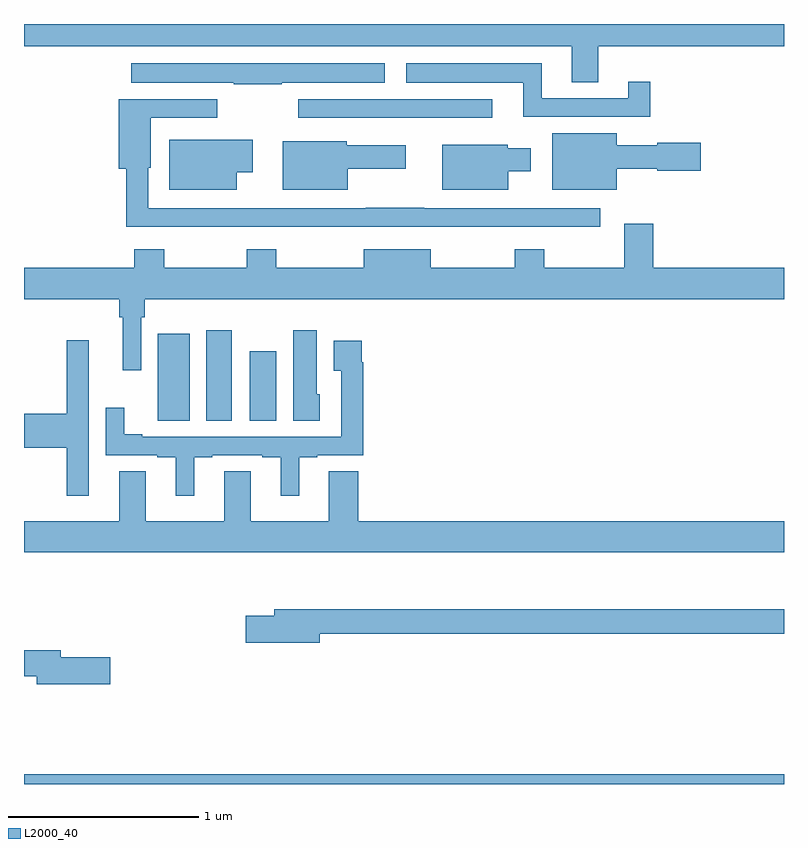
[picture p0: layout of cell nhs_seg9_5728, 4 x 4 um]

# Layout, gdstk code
import gdstk
lib = gdstk.Library(unit=1e-6, precision=1e-09)
def R(c, l, rs):  # rectangles x0, y0, x1, y1
    for r in rs: c.add(gdstk.rectangle(r[:2], r[2:], *l))
def P(c, l, *ps):  # polygons
    for p in ps: c.add(gdstk.Polygon(p, *l))
L2000_40 = (2000, 40)

nhs_seg9_5728 = lib.new_cell('nhs_seg9_5728')
R(nhs_seg9_5728, L2000_40, [(443,1228.5,447,1228.552), (443.705,1230.412,443.872,1230.871), (443.96,1230.412,444.094,1230.889), (444.188,1230.412,444.328,1230.778)])
P(nhs_seg9_5728, L2000_40, [(446.023,1232.384),(447,1232.384),(447,1232.5),(443,1232.5),(443,1232.384),(445.883,1232.384),(445.883,1232.194),(446.023,1232.194)],
  [(446.297,1232.197),(446.18,1232.197),(446.18,1232.109),(445.726,1232.109),(445.726,1232.293),(445.011,1232.293),(445.011,1232.192),(445.628,1232.192),(445.628,1232.013),(446.297,1232.013)],
  [(444.356,1232.192),(444.898,1232.192),(444.898,1232.293),(443.565,1232.293),(443.565,1232.192),(444.103,1232.192),(444.103,1232.182),(444.356,1232.182)],
  [(444.083,1231.434),(444.415,1231.434),(444.415,1231.433),(444.692,1231.433),(444.692,1231.434),(445.237,1231.434),(445.237,1231.433),(445.493,1231.433),(445.493,1231.434),(446.032,1231.434),(446.032,1231.53),(445.106,1231.53),(445.106,1231.532),(444.799,1231.532),(444.799,1231.53),(443.655,1231.53),(443.655,1231.743),(443.668,1231.743),(443.668,1232.007),(444.016,1232.007),(444.016,1232.103),(443.498,1232.103),(443.498,1231.739),(443.539,1231.739),(443.539,1231.434),(443.827,1231.434),(443.827,1231.433),(444.083,1231.433)],
  [(445.465,1232.103),(444.444,1232.103),(444.444,1232.007),(444.799,1232.007),(444.799,1232.006),(445.465,1232.006)],
  [(446.119,1231.739),(446.333,1231.739),(446.333,1231.727),(446.563,1231.727),(446.563,1231.874),(446.333,1231.874),(446.333,1231.861),(446.119,1231.861),(446.119,1231.924),(445.781,1231.924),(445.781,1231.628),(446.119,1231.628)],
  [(444.121,1231.721),(444.205,1231.721),(444.205,1231.891),(443.765,1231.891),(443.765,1231.628),(444.121,1231.628)],
  [(444.703,1231.739),(445.009,1231.739),(445.009,1231.861),(444.699,1231.861),(444.699,1231.882),(444.362,1231.882),(444.362,1231.628),(444.703,1231.628)],
  [(445.549,1231.724),(445.666,1231.724),(445.666,1231.846),(445.545,1231.846),(445.545,1231.864),(445.202,1231.864),(445.202,1231.628),(445.549,1231.628)],
  [(443.616,1230.956),(443.636,1230.956),(443.636,1231.052),(447,1231.052),(447,1231.216),(446.312,1231.216),(446.312,1231.45),(446.159,1231.45),(446.159,1231.216),(445.737,1231.216),(445.737,1231.315),(445.582,1231.315),(445.582,1231.216),(445.141,1231.216),(445.141,1231.315),(444.788,1231.315),(444.788,1231.216),(444.327,1231.216),(444.327,1231.315),(444.172,1231.315),(444.172,1231.216),(443.739,1231.216),(443.739,1231.315),(443.579,1231.315),(443.579,1231.216),(443,1231.216),(443,1231.052),(443.5,1231.052),(443.5,1230.956),(443.519,1230.956),(443.519,1230.678),(443.616,1230.678)],
  [(444.556,1230.552),(444.541,1230.552),(444.541,1230.889),(444.416,1230.889),(444.416,1230.412),(444.556,1230.412)],
  [(443.34,1230.532),(443.342,1230.532),(443.342,1230.835),(443.224,1230.835),(443.224,1230.449),(443,1230.449),(443,1230.271),(443.224,1230.271),(443.224,1230.018),(443.34,1230.018)],
  [(443.896,1230.219),(443.992,1230.219),(443.992,1230.231),(444.254,1230.231),(444.254,1230.219),(444.35,1230.219),(444.35,1230.018),(444.448,1230.018),(444.448,1230.219),(444.544,1230.219),(444.544,1230.231),(444.785,1230.231),(444.785,1230.719),(444.778,1230.719),(444.778,1230.832),(444.629,1230.832),(444.629,1230.676),(444.669,1230.676),(444.669,1230.327),(443.623,1230.327),(443.623,1230.34),(443.527,1230.34),(443.527,1230.481),(443.43,1230.481),(443.43,1230.231),(443.702,1230.231),(443.702,1230.219),(443.798,1230.219),(443.798,1230.018),(443.896,1230.018)],
  [(447,1229.884),(444.758,1229.884),(444.758,1230.146),(444.605,1230.146),(444.605,1229.884),(444.193,1229.884),(444.193,1230.146),(444.053,1230.146),(444.053,1229.884),(443.641,1229.884),(443.641,1230.146),(443.501,1230.146),(443.501,1229.884),(443,1229.884),(443,1229.72),(447,1229.72)],
  [(444.556,1229.29),(447,1229.29),(447,1229.419),(444.317,1229.419),(444.317,1229.385),(444.168,1229.385),(444.168,1229.243),(444.556,1229.243)],
  [(443.455,1229.168),(443.194,1229.168),(443.194,1229.204),(443,1229.204),(443,1229.068),(443.066,1229.068),(443.066,1229.026),(443.455,1229.026)])

lib.write_gds('nhs_seg9_5728.gds')
